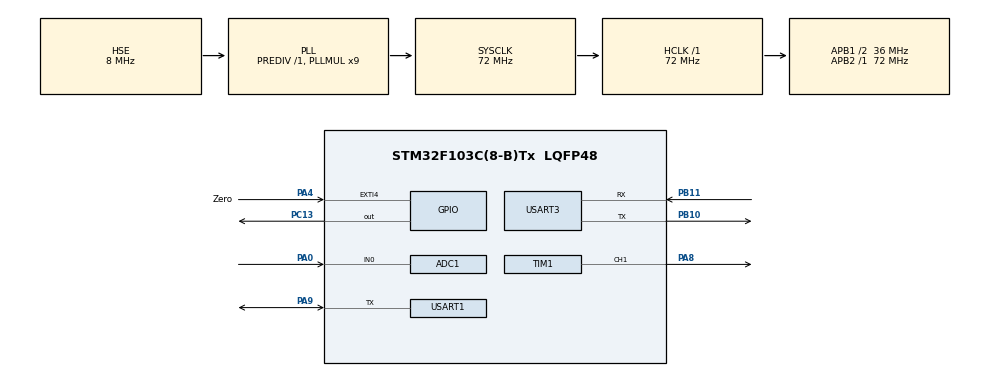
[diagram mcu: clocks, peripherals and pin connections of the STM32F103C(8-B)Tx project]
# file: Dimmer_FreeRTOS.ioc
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ADC1.Channel-0\#ChannelRegularConversion=ADC_CHANNEL_0
ADC1.NbrOfConversionFlag=1
ADC1.Rank-0\#ChannelRegularConversion=1
ADC1.SamplingTime-0\#ChannelRegularConversion=ADC_SAMPLETIME_1CYCLE_5
ADC1.master=1
FREERTOS.Tasks01=defaultTask,24,128,StartDefaultTask,Default,NULL,Dynamic,NULL,NULL;my_Dimmer_Task,8,128,Start_Dimmer_Task,Default,NULL,Dynamic,NULL,NULL;my_DS18B20_Task,8,128,Start_DS18B20_Task,Default,NULL,Dynamic,NULL,NULL;my_Blink_Task,8,128,Start_Blink_Task,Default,NULL,Dynamic,NULL,NULL
FREERTOS.configUSE_NEWLIB_REENTRANT=1
Mcu.Family=STM32F1
Mcu.Name=STM32F103C(8-B)Tx
Mcu.Package=LQFP48
NVIC.EXTI4_IRQn=true\:5\:0\:false\:false\:true\:true\:true\:true
NVIC.PriorityGroup=NVIC_PRIORITYGROUP_4
NVIC.TIM4_IRQn=true\:15\:0\:false\:false\:true\:false\:false\:true
NVIC.TimeBase=TIM4_IRQn
NVIC.TimeBaseIP=TIM4
NVIC.USART1_IRQn=true\:5\:0\:false\:false\:true\:true\:true\:true
PA0-WKUP.Signal=ADCx_IN0
PA13.Mode=Serial_Wire
PA13.Signal=SYS_JTMS-SWDIO
PA14.Mode=Serial_Wire
PA14.Signal=SYS_JTCK-SWCLK
PA4.GPIO_Label=Zero
PA4.GPIO_ModeDefaultEXTI=GPIO_MODE_IT_FALLING
PA4.Signal=GPXTI4
PA8.Signal=S_TIM1_CH1
PA9.Mode=Half_duplex(single_wire_mode)
PA9.Signal=USART1_TX
PB10.Mode=Asynchronous
PB10.Signal=USART3_TX
PB11.Mode=Asynchronous
PB11.Signal=USART3_RX
PC13-TAMPER-RTC.Signal=GPIO_Output
PD0-OSC_IN.Mode=HSE-External-Oscillator
PD0-OSC_IN.Signal=RCC_OSC_IN
PD1-OSC_OUT.Mode=HSE-External-Oscillator
PD1-OSC_OUT.Signal=RCC_OSC_OUT
ProjectManager.HeapSize=0x200
ProjectManager.StackSize=0x400
ProjectManager.TargetToolchain=STM32CubeIDE
RCC.ADCPresc=RCC_ADCPCLK2_DIV6
RCC.AHBFreq_Value=72000000
RCC.APB1CLKDivider=RCC_HCLK_DIV2
RCC.APB1Freq_Value=36000000
RCC.APB1TimFreq_Value=72000000
RCC.APB2Freq_Value=72000000
RCC.APB2TimFreq_Value=72000000
RCC.HCLKFreq_Value=72000000
RCC.PLLMUL=RCC_PLL_MUL9
RCC.PLLSourceVirtual=RCC_PLLSOURCE_HSE
RCC.SYSCLKFreq_VALUE=72000000
RCC.SYSCLKSource=RCC_SYSCLKSOURCE_PLLCLK
RCC.USBFreq_Value=72000000
SH.ADCx_IN0.0=ADC1_IN0,IN0
SH.S_TIM1_CH1.0=TIM1_CH1,PWM Generation1 CH1
TIM1.Channel-PWM\ Generation1\ CH1=TIM_CHANNEL_1
TIM1.OCMode_PWM-PWM\ Generation1\ CH1=TIM_OCMODE_PWM2
TIM1.Period=9000
TIM1.Prescaler=71
TIM1.Pulse-PWM\ Generation1\ CH1=5000
USART1.VirtualMode=VM_ASYNC
USART3.VirtualMode=VM_ASYNC
VP_FREERTOS_VS_CMSIS_V2.Mode=CMSIS_V2
VP_SYS_VS_tim4.Mode=TIM4
VP_TIM1_VS_ClockSourceINT.Mode=Internal
board=custom

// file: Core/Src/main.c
/* USER CODE BEGIN Header */
/**
  ******************************************************************************
  * @file           : main.c
  * @brief          : Main program body
  ******************************************************************************
  * @attention
  *
  * Copyright (c) 2022 STMicroelectronics.
  * All rights reserved.
  *
  * This software is licensed under terms that can be found in the LICENSE file
  * in the root directory of this software component.
  * If no LICENSE file comes with this software, it is provided AS-IS.
  *
  ******************************************************************************
  */
/* USER CODE END Header */
#include "main.h"
#include "cmsis_os.h"

/* USER CODE BEGIN Includes */
#include "OneWire.h"
#include <stdio.h>/* для printf */
/* USER CODE END Includes */

/* USER CODE BEGIN PM */
extern float Temp[MAXDEVICES_ON_THE_BUS];
/* USER CODE END PM */

ADC_HandleTypeDef hadc1;

TIM_HandleTypeDef htim1;

UART_HandleTypeDef huart1;
UART_HandleTypeDef huart3;

/* Definitions for defaultTask */
osThreadId_t defaultTaskHandle;
const osThreadAttr_t defaultTask_attributes = {
  .name = "defaultTask",
  .stack_size = 128 * 4,
  .priority = (osPriority_t) osPriorityNormal,
};
/* Definitions for my_Dimmer_Task */
osThreadId_t my_Dimmer_TaskHandle;
const osThreadAttr_t my_Dimmer_Task_attributes = {
  .name = "my_Dimmer_Task",
  .stack_size = 128 * 4,
  .priority = (osPriority_t) osPriorityLow,
};
/* Definitions for my_DS18B20_Task */
osThreadId_t my_DS18B20_TaskHandle;
const osThreadAttr_t my_DS18B20_Task_attributes = {
  .name = "my_DS18B20_Task",
  .stack_size = 128 * 4,
  .priority = (osPriority_t) osPriorityLow,
};
/* Definitions for my_Blink_Task */
osThreadId_t my_Blink_TaskHandle;
const osThreadAttr_t my_Blink_Task_attributes = {
  .name = "my_Blink_Task",
  .stack_size = 128 * 4,
  .priority = (osPriority_t) osPriorityLow,
};

void SystemClock_Config(void);
static void MX_GPIO_Init(void);
static void MX_ADC1_Init(void);
static void MX_TIM1_Init(void);
static void MX_USART1_UART_Init(void);
static void MX_USART3_UART_Init(void);
void StartDefaultTask(void *argument);
void Start_Dimmer_Task(void *argument);
void Start_DS18B20_Task(void *argument);
void Start_Blink_Task(void *argument);

/* USER CODE BEGIN PFP */
int _write(int file, char *ptr, int len) {
	int i;
	HAL_UART_Transmit(&huart3, (uint8_t*) ptr, len, 50);
	for (i = 0; i < len; i++) {
		ITM_SendChar(*ptr++);
	}
	return len;
}
/* USER CODE END PFP */

/* USER CODE BEGIN 0 */
int16_t value = 0;           // For function "map"
int16_t in_max = 4095;       // max value of potentiometer
int8_t in_min = 0;           // min value of potentiometer
unsigned int out_max = 9001; // max value of new diapason
int8_t out_min = 0;          // min value of new diapason

int8_t  req_temp = 40.0;     // Необходимая температура
/* USER CODE END 0 */

int main(void)
{

  /* MCU Configuration--------------------------------------------------------*/

  /* Reset of all peripherals, Initializes the Flash interface and the Systick. */
  HAL_Init();

  /* Configure the system clock */
  SystemClock_Config();

  /* Initialize all configured peripherals */
  MX_GPIO_Init();
  MX_ADC1_Init();
  MX_TIM1_Init();
  MX_USART1_UART_Init();
  MX_USART3_UART_Init();

  /* Init scheduler */
  osKernelInitialize();

  /* Create the thread(s) */
  /* creation of defaultTask */
  defaultTaskHandle = osThreadNew(StartDefaultTask, NULL, &defaultTask_attributes);

  /* creation of my_Dimmer_Task */
  my_Dimmer_TaskHandle = osThreadNew(Start_Dimmer_Task, NULL, &my_Dimmer_Task_attributes);

  /* creation of my_DS18B20_Task */
  my_DS18B20_TaskHandle = osThreadNew(Start_DS18B20_Task, NULL, &my_DS18B20_Task_attributes);

  /* creation of my_Blink_Task */
  my_Blink_TaskHandle = osThreadNew(Start_Blink_Task, NULL, &my_Blink_Task_attributes);

  /* Start scheduler */
  osKernelStart();

  /* We should never get here as control is now taken by the scheduler */
  /* Infinite loop */
  while (1)
  {

  }
}

void SystemClock_Config(void)
{
  RCC_OscInitTypeDef RCC_OscInitStruct = {0};
  RCC_ClkInitTypeDef RCC_ClkInitStruct = {0};
  RCC_PeriphCLKInitTypeDef PeriphClkInit = {0};

  /** Initializes the RCC Oscillators according to the specified parameters
  * in the RCC_OscInitTypeDef structure.
  */
  RCC_OscInitStruct.OscillatorType = RCC_OSCILLATORTYPE_HSE;
  RCC_OscInitStruct.HSEState = RCC_HSE_ON;
  RCC_OscInitStruct.HSEPredivValue = RCC_HSE_PREDIV_DIV1;
  RCC_OscInitStruct.HSIState = RCC_HSI_ON;
  RCC_OscInitStruct.PLL.PLLState = RCC_PLL_ON;
  RCC_OscInitStruct.PLL.PLLSource = RCC_PLLSOURCE_HSE;
  RCC_OscInitStruct.PLL.PLLMUL = RCC_PLL_MUL9;
  if (HAL_RCC_OscConfig(&RCC_OscInitStruct) != HAL_OK)
  {
    Error_Handler();
  }
  /** Initializes the CPU, AHB and APB buses clocks
  */
  RCC_ClkInitStruct.ClockType = RCC_CLOCKTYPE_HCLK|RCC_CLOCKTYPE_SYSCLK
                              |RCC_CLOCKTYPE_PCLK1|RCC_CLOCKTYPE_PCLK2;
  RCC_ClkInitStruct.SYSCLKSource = RCC_SYSCLKSOURCE_PLLCLK;
  RCC_ClkInitStruct.AHBCLKDivider = RCC_SYSCLK_DIV1;
  RCC_ClkInitStruct.APB1CLKDivider = RCC_HCLK_DIV2;
  RCC_ClkInitStruct.APB2CLKDivider = RCC_HCLK_DIV1;

  if (HAL_RCC_ClockConfig(&RCC_ClkInitStruct, FLASH_LATENCY_2) != HAL_OK)
  {
    Error_Handler();
  }
  PeriphClkInit.PeriphClockSelection = RCC_PERIPHCLK_ADC;
  PeriphClkInit.AdcClockSelection = RCC_ADCPCLK2_DIV6;
  if (HAL_RCCEx_PeriphCLKConfig(&PeriphClkInit) != HAL_OK)
  {
    Error_Handler();
  }
}

static void MX_ADC1_Init(void)
{

  ADC_ChannelConfTypeDef sConfig = {0};

  /** Common config
  */
  hadc1.Instance = ADC1;
  hadc1.Init.ScanConvMode = ADC_SCAN_DISABLE;
  hadc1.Init.ContinuousConvMode = DISABLE;
  hadc1.Init.DiscontinuousConvMode = DISABLE;
  hadc1.Init.ExternalTrigConv = ADC_SOFTWARE_START;
  hadc1.Init.DataAlign = ADC_DATAALIGN_RIGHT;
  hadc1.Init.NbrOfConversion = 1;
  if (HAL_ADC_Init(&hadc1) != HAL_OK)
  {
    Error_Handler();
  }
  /** Configure Regular Channel
  */
  sConfig.Channel = ADC_CHANNEL_0;
  sConfig.Rank = ADC_REGULAR_RANK_1;
  sConfig.SamplingTime = ADC_SAMPLETIME_1CYCLE_5;
  if (HAL_ADC_ConfigChannel(&hadc1, &sConfig) != HAL_OK)
  {
    Error_Handler();
  }

}

static void MX_TIM1_Init(void)
{

  TIM_ClockConfigTypeDef sClockSourceConfig = {0};
  TIM_MasterConfigTypeDef sMasterConfig = {0};
  TIM_OC_InitTypeDef sConfigOC = {0};
  TIM_BreakDeadTimeConfigTypeDef sBreakDeadTimeConfig = {0};

  htim1.Instance = TIM1;
  htim1.Init.Prescaler = 71;
  htim1.Init.CounterMode = TIM_COUNTERMODE_UP;
  htim1.Init.Period = 9000;
  htim1.Init.ClockDivision = TIM_CLOCKDIVISION_DIV1;
  htim1.Init.RepetitionCounter = 0;
  htim1.Init.AutoReloadPreload = TIM_AUTORELOAD_PRELOAD_DISABLE;
  if (HAL_TIM_Base_Init(&htim1) != HAL_OK)
  {
    Error_Handler();
  }
  sClockSourceConfig.ClockSource = TIM_CLOCKSOURCE_INTERNAL;
  if (HAL_TIM_ConfigClockSource(&htim1, &sClockSourceConfig) != HAL_OK)
  {
    Error_Handler();
  }
  if (HAL_TIM_PWM_Init(&htim1) != HAL_OK)
  {
    Error_Handler();
  }
  sMasterConfig.MasterOutputTrigger = TIM_TRGO_RESET;
  sMasterConfig.MasterSlaveMode = TIM_MASTERSLAVEMODE_DISABLE;
  if (HAL_TIMEx_MasterConfigSynchronization(&htim1, &sMasterConfig) != HAL_OK)
  {
    Error_Handler();
  }
  sConfigOC.OCMode = TIM_OCMODE_PWM2;
  sConfigOC.Pulse = 5000;
  sConfigOC.OCPolarity = TIM_OCPOLARITY_HIGH;
  sConfigOC.OCNPolarity = TIM_OCNPOLARITY_HIGH;
  sConfigOC.OCFastMode = TIM_OCFAST_DISABLE;
  sConfigOC.OCIdleState = TIM_OCIDLESTATE_RESET;
  sConfigOC.OCNIdleState = TIM_OCNIDLESTATE_RESET;
  if (HAL_TIM_PWM_ConfigChannel(&htim1, &sConfigOC, TIM_CHANNEL_1) != HAL_OK)
  {
    Error_Handler();
  }
  sBreakDeadTimeConfig.OffStateRunMode = TIM_OSSR_DISABLE;
  sBreakDeadTimeConfig.OffStateIDLEMode = TIM_OSSI_DISABLE;
  sBreakDeadTimeConfig.LockLevel = TIM_LOCKLEVEL_OFF;
  sBreakDeadTimeConfig.DeadTime = 0;
  sBreakDeadTimeConfig.BreakState = TIM_BREAK_DISABLE;
  sBreakDeadTimeConfig.BreakPolarity = TIM_BREAKPOLARITY_HIGH;
  sBreakDeadTimeConfig.AutomaticOutput = TIM_AUTOMATICOUTPUT_DISABLE;
  if (HAL_TIMEx_ConfigBreakDeadTime(&htim1, &sBreakDeadTimeConfig) != HAL_OK)
  {
    Error_Handler();
  }
  HAL_TIM_MspPostInit(&htim1);

}

static void MX_USART1_UART_Init(void)
{

  huart1.Instance = USART1;
  huart1.Init.BaudRate = 115200;
  huart1.Init.WordLength = UART_WORDLENGTH_8B;
  huart1.Init.StopBits = UART_STOPBITS_1;
  huart1.Init.Parity = UART_PARITY_NONE;
  huart1.Init.Mode = UART_MODE_TX_RX;
  huart1.Init.HwFlowCtl = UART_HWCONTROL_NONE;
  huart1.Init.OverSampling = UART_OVERSAMPLING_16;
  if (HAL_HalfDuplex_Init(&huart1) != HAL_OK)
  {
    Error_Handler();
  }

}

static void MX_USART3_UART_Init(void)
{

  huart3.Instance = USART3;
  huart3.Init.BaudRate = 115200;
  huart3.Init.WordLength = UART_WORDLENGTH_8B;
  huart3.Init.StopBits = UART_STOPBITS_1;
  huart3.Init.Parity = UART_PARITY_NONE;
  huart3.Init.Mode = UART_MODE_TX_RX;
  huart3.Init.HwFlowCtl = UART_HWCONTROL_NONE;
  huart3.Init.OverSampling = UART_OVERSAMPLING_16;
  if (HAL_UART_Init(&huart3) != HAL_OK)
  {
    Error_Handler();
  }

}

static void MX_GPIO_Init(void)
{
  GPIO_InitTypeDef GPIO_InitStruct = {0};

  /* GPIO Ports Clock Enable */
  __HAL_RCC_GPIOC_CLK_ENABLE();
  __HAL_RCC_GPIOD_CLK_ENABLE();
  __HAL_RCC_GPIOA_CLK_ENABLE();
  __HAL_RCC_GPIOB_CLK_ENABLE();

  /*Configure GPIO pin Output Level */
  HAL_GPIO_WritePin(GPIOC, GPIO_PIN_13, GPIO_PIN_RESET);

  /*Configure GPIO pin : PC13 */
  GPIO_InitStruct.Pin = GPIO_PIN_13;
  GPIO_InitStruct.Mode = GPIO_MODE_OUTPUT_PP;
  GPIO_InitStruct.Pull = GPIO_NOPULL;
  GPIO_InitStruct.Speed = GPIO_SPEED_FREQ_LOW;
  HAL_GPIO_Init(GPIOC, &GPIO_InitStruct);

  /*Configure GPIO pin : Zero_Pin */
  GPIO_InitStruct.Pin = Zero_Pin;
  GPIO_InitStruct.Mode = GPIO_MODE_IT_FALLING;
  GPIO_InitStruct.Pull = GPIO_NOPULL;
  HAL_GPIO_Init(Zero_GPIO_Port, &GPIO_InitStruct);

  /* EXTI interrupt init*/
  HAL_NVIC_SetPriority(EXTI4_IRQn, 5, 0);
  HAL_NVIC_EnableIRQ(EXTI4_IRQn);

}

/* USER CODE BEGIN 4 */
void HAL_GPIO_EXTI_Callback(uint16_t GPIO_Pin) {
	if (GPIO_Pin == GPIO_PIN_4) // If The INT Source Is EXTI Line4 (A4 Pin)
	{
		HAL_TIM_PWM_Start(&htim1, TIM_CHANNEL_1);
	}
}
/* USER CODE END 4 */

void StartDefaultTask(void *argument)
{
  for(;;)
  {
    osDelay(1);
  }
}

void Start_Dimmer_Task(void *argument)
{
  /* USER CODE BEGIN Start_Dimmer_Task */
//	uint16_t raw;
  /* Infinite loop */
  for(;;){
	    // Get ADC value
//	    HAL_ADC_Start(&hadc1);
//	    HAL_ADC_PollForConversion(&hadc1, HAL_MAX_DELAY);
//	    raw = HAL_ADC_GetValue(&hadc1);
//
//	    value = (raw - in_min) * (out_max - out_min) / (in_max - in_min) + out_min; // Function map

//	    if (value >= 8865)
	  	printf("Temperature - %lf \r\n",Temp[0]);
	  	if ((Temp[0] >= 0.3) && (Temp[0] <= (req_temp)))
	    {
	    value = 0; // Подаем питание на утюг
	    HAL_GPIO_WritePin(GPIOC, GPIO_PIN_13, GPIO_PIN_RESET);
	    printf("Value_1 is: %d\r\n",value);
	    }
	    //else if (value <= 15)
	  	else if (Temp[0] >= req_temp)
	    {
	    value = 9001;//отключаем питание
	    printf("Value_2 is: %d\r\n",value);
	    HAL_GPIO_WritePin(GPIOC, GPIO_PIN_13, GPIO_PIN_SET);
	    }
	  	else if (Temp[0] <= 0.0)
	    {
	    value = 9001;//отключаем питание
	    printf("Value_3 is: %d\r\n",value);
	    printf("A resistor is damaged, power is OFF!");
	    HAL_GPIO_WritePin(GPIOC, GPIO_PIN_13, GPIO_PIN_SET);
	    }
	    else {
	       //value=value;
	       //printf("Value is: %d\r\n",value);
	    	printf("Value_4 is: %d\r\n",value);
	    	printf("A sensor is damaged, power is OFF!");
	    	value = 9001; //отключаем питание
	    	HAL_GPIO_WritePin(GPIOC, GPIO_PIN_13, GPIO_PIN_SET);
	    }

		__HAL_TIM_SET_COMPARE(&htim1, TIM_CHANNEL_1, value);
		osDelay(150);
  }
  /* USER CODE END Start_Dimmer_Task */
}

void Start_DS18B20_Task(void *argument)
{
  /* USER CODE BEGIN Start_DS18B20_Task */
	get_ROMid();
  /* Infinite loop */
  for(;;)
  {
	get_Temperature();
    osDelay(5); // min 2,5µs
    //printf("Temperature - %lf \r\n",Temp[0]);
  }
  /* USER CODE END Start_DS18B20_Task */
}

void Start_Blink_Task(void *argument)
{
  /* USER CODE BEGIN Start_Blink_Task */
  /* Infinite loop */
  for(;;)
  {
	//HAL_GPIO_TogglePin(GPIOC, GPIO_PIN_13);
    osDelay(150);
  }
  /* USER CODE END Start_Blink_Task */
}

void HAL_TIM_PeriodElapsedCallback(TIM_HandleTypeDef *htim)
{
  if (htim->Instance == TIM4) {
    HAL_IncTick();
  }
}

void Error_Handler(void)
{
  __disable_irq();
  while (1)
  {
  }
}
